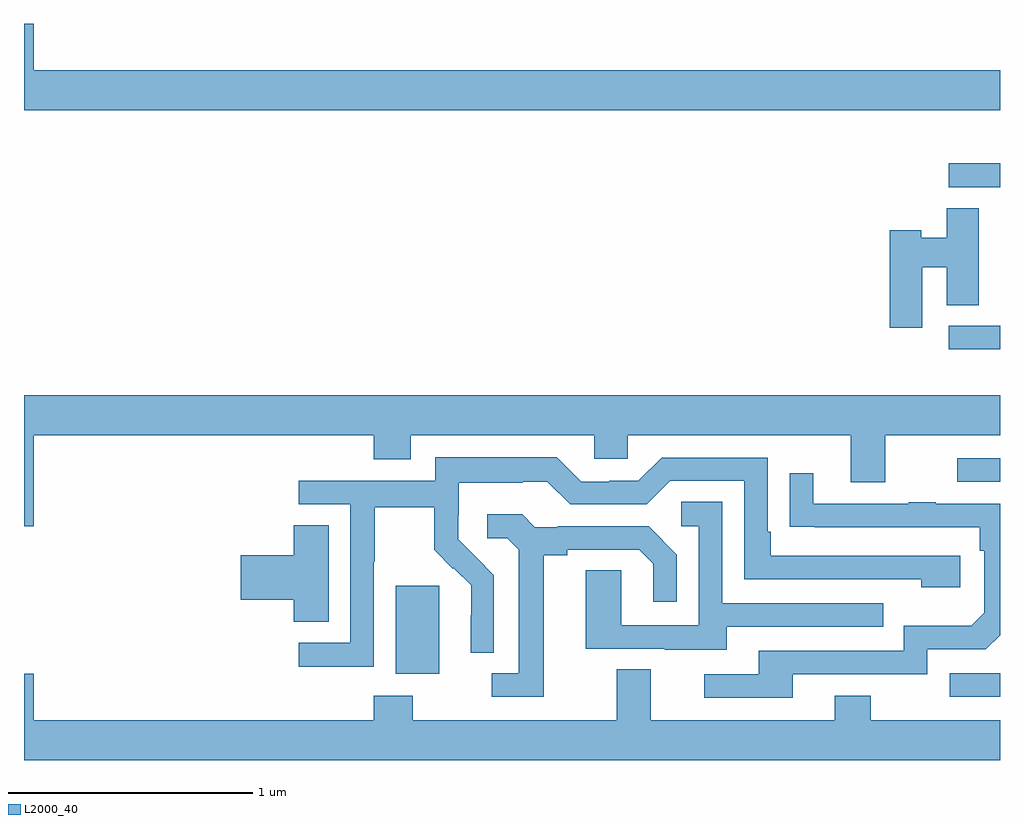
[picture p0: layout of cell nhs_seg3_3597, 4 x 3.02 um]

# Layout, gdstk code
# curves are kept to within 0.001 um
import gdstk
lib = gdstk.Library(unit=1e-6, precision=1e-09)
def R(c, l, rs):  # rectangles x0, y0, x1, y1
    for r in rs: c.add(gdstk.rectangle(r[:2], r[2:], *l))
def P(c, l, *ps):  # polygons
    for p in ps: c.add(gdstk.Polygon(p, *l))
L2000_40 = (2000, 40)

nhs_seg3_3597 = lib.new_cell('nhs_seg3_3597')
R(nhs_seg3_3597, L2000_40, [(300.795,721.155,301,721.251), (298.523,721.25,298.702,721.611), (300.825,722.037,301,722.133), (300.789,722.58,301,722.676), (300.789,723.243,301,723.342)])
P(nhs_seg3_3597, L2000_40, [(301,723.724),(297.04,723.724),(297.04,723.913),(297,723.913),(297,723.56),(301,723.56)],
  [(300.682,722.915),(300.782,722.915),(300.782,722.761),(300.913,722.761),(300.913,723.158),(300.782,723.158),(300.782,723.037),(300.678,723.037),(300.678,723.068),(300.548,723.068),(300.548,722.667),(300.682,722.667)],
  [(297.04,722.228),(298.433,722.228),(298.433,722.129),(298.585,722.129),(298.585,722.228),(299.337,722.228),(299.337,722.13),(299.475,722.13),(299.475,722.228),(300.389,722.228),(300.389,722.034),(300.529,722.034),(300.529,722.228),(301,722.228),(301,722.392),(297,722.392),(297,721.854),(297.04,721.854)],
  [(298.434,721.708),(298.437,721.708),(298.437,721.932),(298.681,721.932),(298.681,721.757),(298.758,721.68),(298.761,721.683),(298.832,721.613),(298.832,721.49),(298.83,721.49),(298.83,721.336),(298.926,721.336),(298.926,721.654),(298.78,721.802),(298.78,721.899),(298.782,721.899),(298.782,722.033),(299.045,722.033),(299.045,722.037),(299.145,722.037),(299.238,721.944),(299.553,721.944),(299.649,722.04),(299.952,722.04),(299.952,721.638),(300.677,721.638),(300.677,721.604),(300.838,721.604),(300.838,721.734),(300.061,721.734),(300.061,721.831),(300.048,721.831),(300.048,722.136),(299.613,722.136),(299.517,722.04),(299.399,722.04),(299.399,722.037),(299.283,722.037),(299.183,722.137),(298.686,722.137),(298.686,722.04),(298.125,722.04),(298.125,721.944),(298.338,721.944),(298.338,721.377),(298.125,721.377),(298.125,721.279),(298.434,721.279)],
  [(300.151,721.248),(300.702,721.248),(300.702,721.35),(300.942,721.35),(301,721.408),(301,721.947),(300.737,721.947),(300.737,721.952),(300.625,721.952),(300.625,721.947),(300.235,721.947),(300.235,722.071),(300.139,722.071),(300.139,721.852),(300.916,721.851),(300.916,721.754),(300.936,721.754),(300.936,721.5),(300.883,721.447),(300.606,721.447),(300.606,721.344),(300.011,721.344),(300.011,721.248),(299.787,721.248),(299.787,721.152),(300.151,721.152)],
  [(299.881,721.443),(300.521,721.443),(300.521,721.539),(299.862,721.539),(299.862,721.955),(299.694,721.955),(299.694,721.854),(299.766,721.854),(299.766,721.449),(299.448,721.449),(299.448,721.673),(299.303,721.673),(299.303,721.353),(299.627,721.353),(299.627,721.349),(299.881,721.349)],
  [(299.131,721.736),(299.227,721.736),(299.227,721.758),(299.522,721.758),(299.579,721.701),(299.579,721.545),(299.676,721.545),(299.676,721.738),(299.56,721.854),(299.188,721.854),(299.188,721.851),(299.094,721.851),(299.042,721.903),(298.899,721.903),(298.899,721.806),(298.98,721.806),(299.027,721.759),(299.027,721.251),(298.917,721.251),(298.917,721.155),(299.131,721.155)],
  [(298.249,721.859),(298.106,721.859),(298.106,721.736),(297.888,721.736),(297.888,721.553),(298.106,721.553),(298.106,721.462),(298.249,721.462)],
  [(301,721.06),(300.471,721.06),(300.471,721.159),(300.323,721.159),(300.323,721.06),(299.569,721.06),(299.569,721.268),(299.429,721.268),(299.429,721.06),(298.593,721.06),(298.593,721.159),(298.433,721.159),(298.433,721.06),(297.04,721.06),(297.04,721.249),(297,721.249),(297,720.896),(301,720.896)])

lib.write_gds('nhs_seg3_3597.gds')
